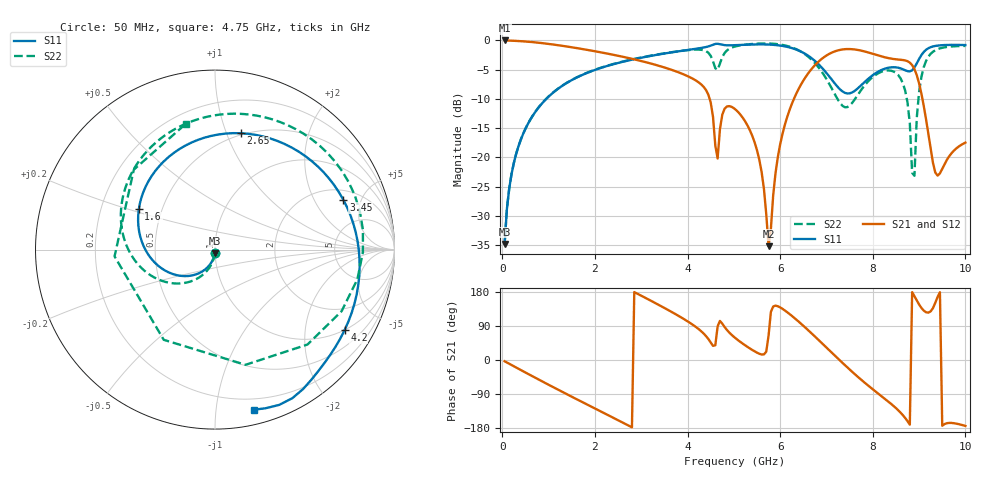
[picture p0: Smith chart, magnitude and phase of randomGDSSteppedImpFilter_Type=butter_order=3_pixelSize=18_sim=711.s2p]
! freq	dB(S11)	phase(S11)	dB(S12)	phase(S12)
!  dB(S21)	phase(S21)	dB(S22)	phase(S22)
!S-par simulation data
#  GHz  S  DB  R 50
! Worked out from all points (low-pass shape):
!   200 points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, 50 MHz to 10 GHz, reference 50 ohm
!   highest |S21| = 0.00 dB at 50 MHz (marker M1); lowest = -35.2 dB at 5.75 GHz (marker M2)
!   |S21| within 3 dB of the highest: start of sweep to 2.724 GHz; 6.923 GHz to 8.328 GHz (1.405 GHz wide, 18.4 % of centre)
!   lowest |S11| = -34.8 dB at 50 MHz (marker M3), VSWR 1.04, Z = 49.8 - j1.81 ohm
!   |S11| at or under -10 dB: start of sweep to 949 MHz
!   |S22| runs from -34.8 to -0.5 dB; largest |S21 - S12| = 0
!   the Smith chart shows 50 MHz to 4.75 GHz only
!   S11 on the Smith chart (normalised r, x): 50 MHz: 1.00, -0.04; 1.6 GHz: 0.37, +0.22; 2.65 GHz: 0.48, +1.12; 3.45 GHz: 2.60, +3.51; 4.2 GHz: 0.99, -3.22; 4.75 GHz: 0.11, -1.26
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0.05  -34.78 -93.8  -0.00 -3.4  -0.00 -3.4  -34.77 -93.0
0.45  -15.98 -124.1  -0.15 -29.7  -0.15 -29.7  -15.96 -116.4
1.6  -6.37 152.1  -1.30 -103.1  -1.30 -103.1  -6.34 -179.8
1.75  -5.82 141.4  -1.50 -112.5  -1.50 -112.5  -5.79 172.2
2.65  -3.56 77.6  -2.88 -168.2  -2.88 -168.2  -3.52 124.4
3.4  -2.37 24.7  -4.38 144.0  -4.38 144.0  -2.33 82.0
3.45  -2.30 21.2  -4.50 140.7  -4.50 140.7  -2.26 78.9
4.2  -1.41 -31.9  -6.95 85.4  -6.95 85.4  -1.56 21.1
4.55  -0.74 -57.7  -13.05 37.3  -13.05 37.3  -3.56 -75.2
4.65  -0.57 -67.6  -20.19 88.8  -20.19 88.8  -5.02 -176.2
4.75  -0.74 -76.4  -12.71 95.9  -12.71 95.9  -2.86 103.0
5.05  -0.81 -99.9  -11.91 56.2  -11.91 56.2  -0.99 31.6
5.55  -0.68 -144.7  -20.41 16.4  -20.41 16.4  -0.53 -14.5
5.75  -0.70 -165.0  -35.18 64.6  -35.18 64.6  -0.53 -30.3
6.05  -0.94 161.7  -15.99 135.1  -15.99 135.1  -0.76 -54.7
6.7  -3.17 83.1  -4.68 67.9  -4.68 67.9  -3.46 -117.7
7.4  -8.97 38.0  -1.49 -13.7  -1.49 -13.7  -11.43 112.1
8.35  -4.65 4.8  -3.04 -111.1  -3.04 -111.1  -5.13 -44.8
8.9  -4.63 -6.0  -4.91 168.2  -4.91 168.2  -23.14 58.2
9.15  -1.60 -18.4  -13.47 126.0  -13.47 126.0  -3.51 -10.1
9.4  -0.88 -37.4  -23.12 166.4  -23.12 166.4  -1.50 -43.3
10  -0.79 -69.9  -17.47 -174.0  -17.47 -174.0  -0.94 -82.5
